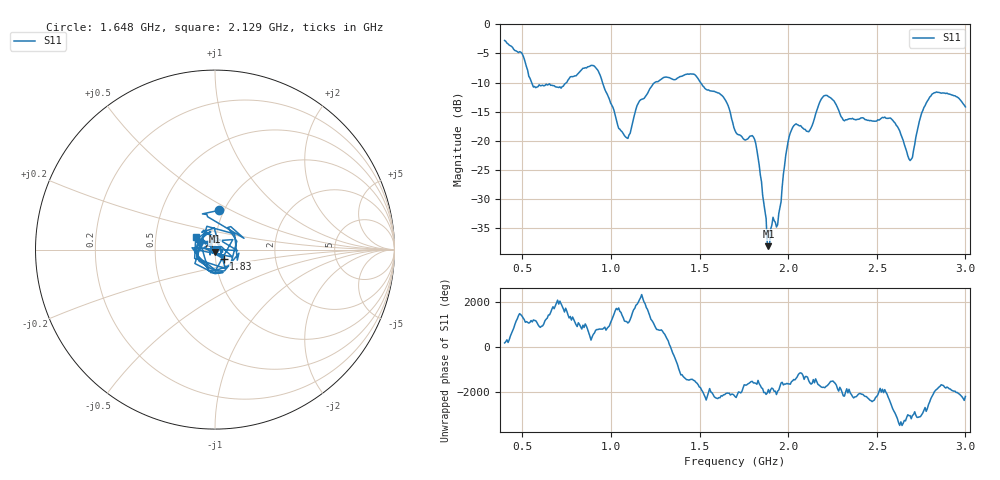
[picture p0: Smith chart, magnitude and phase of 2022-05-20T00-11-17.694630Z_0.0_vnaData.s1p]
!Created with skrf (http://scikit-rf.org).
# Hz S RI R 50.0
!freq ReS11 ImS11
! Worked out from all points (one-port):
!   401 points, 400 MHz to 3 GHz, reference 50 ohm
!   lowest |S11| = -38.1 dB at 1.889 GHz (marker M1), VSWR 1.03, Z = 49.9 - j1.24 ohm
!   |S11| at or under -10 dB: 552.8 MHz to 749.8 MHz (197 MHz wide, 30.2 % of centre); 952.3 MHz to 1.248 GHz (295.3 MHz wide, 26.8 % of centre); 1.505 GHz to end of sweep
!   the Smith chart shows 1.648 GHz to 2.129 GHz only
!   S11 on the Smith chart (normalised r, x): 1.648 GHz: 0.95, +0.44; 1.83 GHz: 1.10, -0.11; 2.129 GHz: 0.80, +0.12
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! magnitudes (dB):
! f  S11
! 400 MHz  -2.8
! 497.5 MHz  -5.0
! 569 MHz  -10.7
! 725 MHz  -10.7
! 907 MHz  -7.2
! 1.05 GHz  -18.0
! 1.095 GHz  -19.6
! 1.154 GHz  -13.6
! 1.245 GHz  -10.1
! 1.375 GHz  -9.2
! 1.466 GHz  -8.6
! 1.648 GHz  -13.1
! 1.7 GHz  -18.3
! 1.798 GHz  -19.1
! 1.83 GHz  -22.9
! 1.889 GHz  -38.1
! 1.947 GHz  -32.5
! 1.992 GHz  -21.4
! 2.025 GHz  -17.7
! 2.129 GHz  -17.8
! 2.207 GHz  -12.2
! 2.35 GHz  -16.2
! 2.584 GHz  -16.3
! 2.675 GHz  -22.6
! 2.695 GHz  -23.2
! 2.753 GHz  -15.3
! 2.812 GHz  -12.0
! 3 GHz  -14.2
